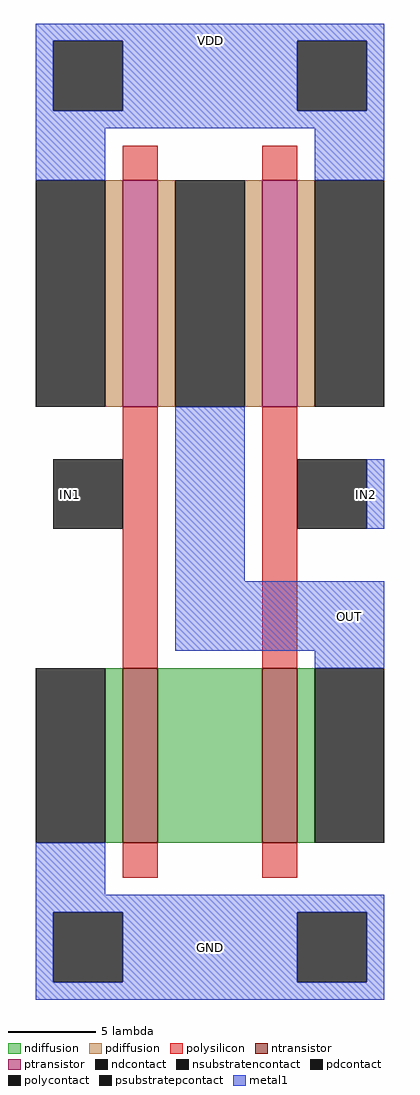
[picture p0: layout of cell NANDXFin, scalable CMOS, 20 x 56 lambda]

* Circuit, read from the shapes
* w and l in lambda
.subckt NANDXFin GND IN1 IN2 OUT VDD
M1 n1 IN1 GND GND nfet w=10 l=2
M2 OUT IN2 n1 GND nfet w=10 l=2
M3 OUT IN1 VDD VDD pfet w=13 l=2
M4 VDD IN2 OUT VDD pfet w=13 l=2
.ends

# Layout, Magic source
magic
tech scmos
<< polysilicon >>
rect -15 39 -13 41
rect -7 39 -5 41
rect -15 11 -13 26
rect -7 11 -5 26
rect -15 -1 -13 1
rect -7 -1 -5 1
<< ndiffusion >>
rect -16 1 -15 11
rect -13 1 -7 11
rect -5 1 -4 11
<< pdiffusion >>
rect -16 26 -15 39
rect -13 26 -12 39
rect -8 26 -7 39
rect -5 26 -4 39
<< metal1 >>
rect -20 47 0 48
rect -20 43 -19 47
rect -15 43 -5 47
rect -1 43 0 47
rect -20 42 0 43
rect -20 39 -16 42
rect -4 39 0 42
rect -12 16 -8 26
rect -1 19 0 23
rect -12 12 0 16
rect -4 11 0 12
rect -20 -2 -16 1
rect -20 -3 0 -2
rect -20 -7 -19 -3
rect -15 -7 -5 -3
rect -1 -7 0 -3
rect -20 -8 0 -7
<< ntransistor >>
rect -15 1 -13 11
rect -7 1 -5 11
<< ptransistor >>
rect -15 26 -13 39
rect -7 26 -5 39
<< polycontact >>
rect -19 19 -15 23
rect -5 19 -1 23
<< ndcontact >>
rect -20 1 -16 11
rect -4 1 0 11
<< pdcontact >>
rect -20 26 -16 39
rect -12 26 -8 39
rect -4 26 0 39
<< psubstratepcontact >>
rect -19 -7 -15 -3
rect -5 -7 -1 -3
<< nsubstratencontact >>
rect -19 43 -15 47
rect -5 43 -1 47
<< labels >>
rlabel polycontact -18 21 -18 21 3 IN1
rlabel metal1 -10 47 -10 47 5 VDD
rlabel metal1 -10 -5 -10 -5 1 GND
rlabel metal1 -2 14 -2 14 7 OUT
rlabel polycontact -1 21 -1 21 7 IN2
<< end >>
